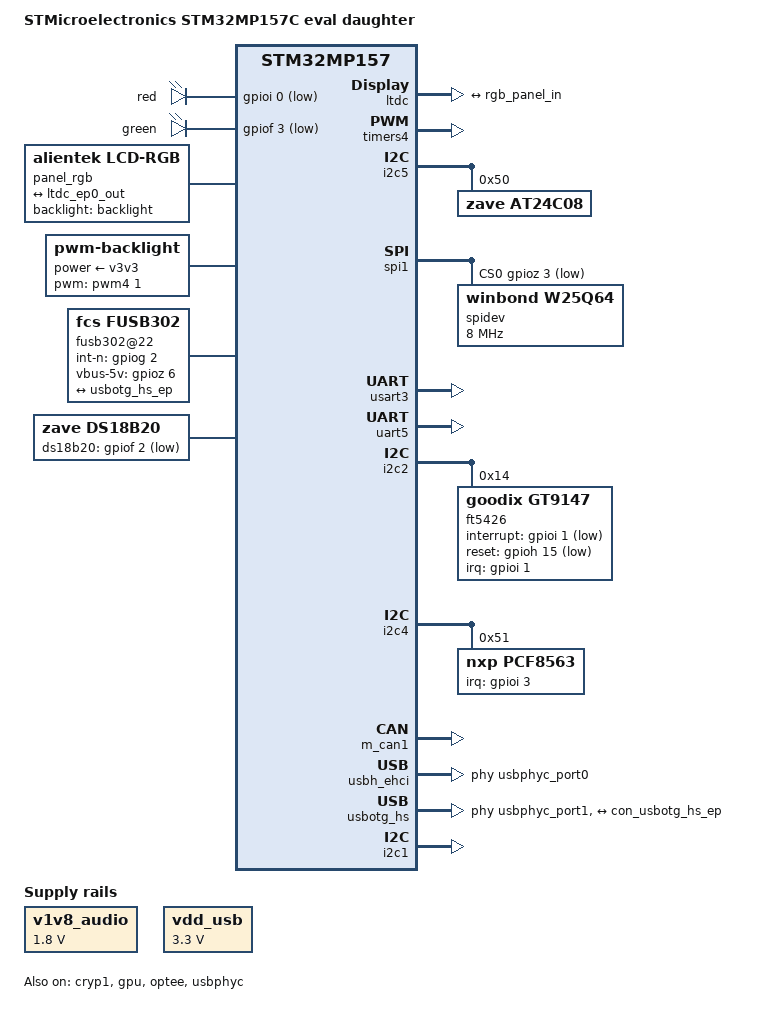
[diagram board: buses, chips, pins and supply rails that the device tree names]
// SPDX-License-Identifier: (GPL-2.0+ OR BSD-3-Clause)
/*
 * Copyright (C) STMicroelectronics 2019 - All Rights Reserved
 * Author: Alexandre Torgue <alexandre.torgue@st.com> for STMicroelectronics.
 */
/dts-v1/;

#include "stm32mp157.dtsi"
#include "stm32mp15xc.dtsi"
#include "stm32mp15-pinctrl.dtsi"
#include "stm32mp15xxaa-pinctrl.dtsi"
#include "stm32mp157-m4-srm.dtsi"
#include "stm32mp157-m4-srm-pinctrl.dtsi"
#include "stm32mp157d-atk.dtsi"
// #include dt-bindings/usb/pd.h


/ {
	model = "STMicroelectronics STM32MP157C eval daughter";
	compatible = "st,stm32mp157c-ed1", "st,stm32mp157";

	chosen {
		stdout-path = "serial0:115200n8";
	};

	aliases {
		serial0 = &uart4;
		serial1 = &uart5;
		serial2 = &usart3;
	};

	reserved-memory {
		gpu_reserved: gpu@f6000000 {
			reg = <0xf6000000 0x8000000>;
			no-map;
		};

		optee_memory: optee@fe000000 {
			reg = <0xfe000000 0x02000000>;
			no-map;
		};
	};
	leds {
		compatible = "mp157led";
		pinctrl-0 = <&led_pins_a>;
		status = "okay";
		led0 {
			label = "red";
			gpios = <&gpioi 0 GPIO_ACTIVE_LOW>;
			default-state = "on";
		};
		led1 {
			label = "green";
			gpios = <&gpiof 3 GPIO_ACTIVE_LOW>;
			default-state = "on";
		};
	};
	beep {
		compatible = "mp157d-beep";
		pinctrl-names = "default";
		label = "mp157beep";
		pinctrl-0 = <&beep_pins_a>;
		beep-gpio = <&gpioc 7 GPIO_ACTIVE_HIGH>;
		default-state = "off";
		status = "disabled";
	};
	key {
		compatible = "mp157d-key";
		pinctrl-0 = <&key_pins_a>;
		status = "okay";
		KEY0 {
			label = "key0";
			pinctrl-names = "default";
			gpios = <&gpiog 3 GPIO_ACTIVE_HIGH>;
			interrupt-parent = <&gpiog>;
			interrupts = <3 IRQ_TYPE_EDGE_BOTH>;
			default-state = "off";
		};
		KEY1 {
			label = "key1";
			pinctrl-names = "default";
			gpios = <&gpioh 7 GPIO_ACTIVE_HIGH>;
			interrupt-parent = <&gpioh>;
			interrupts = <7 IRQ_TYPE_EDGE_BOTH>;
			default-state = "off";
		};
	};
	panel_rgb: panel-rgb {
		compatible = "alientek,lcd-rgb";
		backlight = <&backlight>;
		status = "okay";
		port {
			rgb_panel_in: endpoint {
				remote-endpoint = <&ltdc_ep0_out>;
			};
		};
	};
	backlight: backlight {
		compatible = "pwm-backlight";
		pwms = <&pwm4 1 5000000>;
		brightness-levels = <0 4 8 16 32 64 128 255>;
		power-supply = <&v3v3>;
		default-brightness-level = <7>;
		status = "okay";
	};	
	v1v8_audio: regulator-v1v8-audio {
		compatible = "regulator-fixed";
		regulator-name = "v1v8_audio";
		regulator-min-microvolt = <1800000>;
		regulator-max-microvolt = <1800000>;
		regulator-always-on;
		regulator-boot-on;
	};
	// sound {
	// 	compatible = "audio-graph-card";
	// 	label = "STM32MP1-DK";
	// 	routing =
	// 		"Playback" , "MCLK",
	// 		"Capture" , "MCLK",
	// 		"MICL" , "Mic Bias";
	// 	dais = <&sai2a_port &sai2b_port>;
	// 	status = "okay";
	// };
	usb_phy_tuning: usb-phy-tuning {
		st,hs-dc-level = <2>;
		st,fs-rftime-tuning;
		st,hs-rftime-reduction;
		st,hs-current-trim = <15>;
		st,hs-impedance-trim = <1>;
		st,squelch-level = <3>;
		st,hs-rx-offset = <2>;
		st,no-lsfs-sc;
	};

	vdd_usb: regulator-vdd-usb {
		compatible = "regulator-fixed";
		regulator-name = "vdd_usb";
		regulator-min-microvolt = <3300000>;
		regulator-max-microvolt = <3300000>;
		regulator-always-on;
		regulator-boot-on;
	};
	vin: regulator-vin {
		compatible = "regulator -fixed";
		regulator-name = "vin";
		regulator-min-microvolt = <5000000>;
		regulator-max-microvolt = <5000000>;
		regulator-always-on;
		regulator-boot-on;
	};
	fusb302@22 {
		compatible = "fcs,fusb302","fairchild,fusb302";
		reg = <0x22>;
		// interrupts = <2 IRQ_TYPE_EDGE_FALLING>;
		// interrupt-parent = <&gpiog>;
		pinctrl-names = "default";
		pinctrl-0 = <&fusb302_pins_a>;
		int-n-gpios = <&gpiog 2 GPIO_ACTIVE_HIGH>;
		vbus-5v-gpios = <&gpioz 6 GPIO_ACTIVE_HIGH>;
		status="okay";
		// vdd-supply = <&vin>;

		connector {
			compatible = "usb-c-connector";
			label = "USB-C";
			power-role = "dual";
			power-opmode = "default";

			try-power-role = "sink";
			source-pdos = <PDO_FIXED(5000 , 3000 , PDO_FIXED_USB_COMM)>;
			sink-pdos = <PDO_FIXED (5000 , 3000 , PDO_FIXED_USB_COMM )
						PDO_VAR(3000, 12000, 3000)
						PDO_PPS_APDO(3000, 11000 , 3000 )>;
			port {
				con_usbotg_hs_ep: endpoint {
					remote-endpoint = <&usbotg_hs_ep>;
				};
			};
		};
	};
	ds18b20 {
		compatible = "zave,ds18b20";
		ds18b20-gpio = <&gpiof 2 GPIO_ACTIVE_LOW>;
		status = "okay";
		};
};

&cpu1{
	cpu-supply = <&vddcore>;
};

&cryp1 {
	status="okay";
};

&gpu {
	contiguous-area = <&gpu_reserved>;
	status = "okay";
};

&optee {
	status = "okay";
};

&timers1 {
	status = "disabled";
	/delete-property/dmas;
	/delete-property/dma-names;
		pwm1: pwm {
			pinctrl-0 = <&pwm3_pins_a>;
			pinctrl-1 = <&pwm3_sleep_pins_a>;
			pinctrl-names = "default", "sleep";
			#pwm-cells = <2>;
			status = "disabled";
	};
};

&ltdc {
	pinctrl-names = "default", "sleep";
	pinctrl-0 = <&ltdc_pins_b>;
	pinctrl-1 = <&ltdc_pins_sleep_b>;
	status = "okay";
	port {
		#address-cells = <1>;
		#size-cells = <0>;
		ltdc_ep0_out: endpoint@0 {
			reg = <0>;
			remote-endpoint = <&rgb_panel_in>;
		};
	};
};

&timers4 {
	status = "okay";
	/* spare dmas for other usage */
	/delete-property/dmas;
	/delete-property/dma-names;
	pwm4: pwm {
		pinctrl-0 = <&pwm4_pins_b>;
		pinctrl-1 = <&pwm4_sleep_pins_b>;
		pinctrl-names = "default", "sleep";
		#pwm-cells = <2>;
		status = "okay";
	};
};		

&i2c5 {
	pinctrl-names = "default", "sleep";
	pinctrl-0 = <&i2c5_pins_a>;
	pinctrl-1 = <&i2c5_pins_sleep_a>;
	status = "okay";

	at24c08@50 {
		compatible = "zave,at24c08";
		reg = <0x50>;
	};
};

// &spi1 {
// 	pinctrl-names = "default" , "sleep" ;
// 	pinctrl-0 = <&spi1_pins_a>;
// 	pinctrl-1 = <&spi1_sleep_pins_a>;
// 	cs-gpios = <gpioz 3 GPIO_ACTIVE_LOW>;
// 	status = "disabled";

// 	spidev: bmp180@0 {
// 		compatible = "alientek,bmp180";
// 		reg = <0>; /* CS #0 */
// 		spi-max-frequency = <8000000>;
// 	};
// };

&spi1 {
	pinctrl-names = "default" , "sleep" ;
	pinctrl-0 = <&spi1_pins_a>;
	pinctrl-1 = <&spi1_sleep_pins_a>;
	cs-gpios = <&gpioz 3 GPIO_ACTIVE_LOW>;
	status = "okay";

	spidev: w25q64@0 {
		compatible = "winbond,w25q64";
		reg = <0>; /* CS #0 */
		spi-max-frequency = <8000000>;
	};
};

&usart3 {
	pinctrl-names = "default";
	pinctrl-0 = <&usart3_pins_c>;
	status = "okay";
};

&uart5 {
	pinctrl-names = "default";
	pinctrl-0 = <&uart5_pins_a>;
	status = "okay";
};	

// 直接使用Linux内核自带驱动
&i2c2 {
	pinctrl-names = "default" , "sleep" ;
	pinctrl-0 = <&i2c2_pins_a>;
	pinctrl-1 = <&i2c2_pins_sleep_a>;
	status = "okay";
		ft5426: ft5426@38 {
			compatible = "goodix,gt9147";
			pinctrl-0 = <&ft5426int_reset_pins_a>;
			reg = <0x14>;
			interrupt-parent = <&gpioi>;
			interrupts = <1 IRQ_TYPE_EDGE_RISING>;
			interrupt-gpios = <&gpioi 1 GPIO_ACTIVE_LOW>;
			reset-gpios = <&gpioh 15 GPIO_ACTIVE_LOW>;
			status = "okay";
		};
};


&i2c4 {
	pinctrl-names = "default","sleep" ;
	pinctrl-0 = <&i2c4_pins_a>;
	pinctrl-1 = <&i2c4_pins_sleep_a>;
	status = "okay";
	
	pcf8563@51{
		compatible = "nxp,pcf8563";
		irq_gpio = <&gpioi 3 IRQ_TYPE_EDGE_FALLING>;
		reg = <0x51>;
	};
};

// &i2c4 {
// 	pinctrl-names = "default","sleep" ;
// 	pinctrl-0 = <&i2c4_pins_a>;
// 	pinctrl-1 = <&i2c4_pins_sleep_a>;
// 	status = "okay";
// 	/delete-property/dmas;
// 	/delete-property/dma-names;

// 	cs42l51: cs42l51@4a {
// 		compatible = "cirrus,cs42l51";
// 		reg = <0x4a>;
// 		#sound-dai-cells = <0>;
// 		VL-supply = <&v3v3>;
// 		VD-supply = <&v1v8_audio>;
// 		VA-supply = <&v1v8_audio>;
// 		VAHP-supply = <&v1v8_audio>;
// 		reset-gpios = <&gpioz 7 GPIO_ACTIVE_LOW>;
// 		clocks = <&sai2a>;
// 		clock-names = "MCLK";
// 		status = "okay";

// 		cs42l51_port: port {
// 			#address-cells = <1>;
// 			#size-cells = <0>;

// 			cs42l51_tx_endpoint: endpoint@0 {
// 				reg = <0>;
// 				remote-endpoint = <&sai2a_endpoint>;
// 				frame-master;
// 				bitclock-master;
// 			};

// 			cs42l51_rx_endpoint: endpoint@1 {
// 				reg = <1>;
// 				remote-endpoint = <&sai2b_endpoint>;
// 				frame-master;
// 				bitclock-master;
// 			};
// 		};
// 	};
// };

// &sai2 {
// 	clocks = <&rcc SAI2>, <&rcc PLL3_Q>, <&rcc PLL3_R>;
// 	clock-names = "pclk", "x8k", "x11k";
// 	pinctrl-names = "default", "sleep";
// 	pinctrl-0 = <&sai2a_pins_a>, <&sai2b_pins_b>;
// 	pinctrl-1 = <&sai2a_sleep_pins_a>, <&sai2b_sleep_pins_b>;
// 	status = "disable";

// 	sai2a: audio-controller@4400b004 {
// 		#clock-cells = <0>;
// 		dma-names = "tx";
// 		clocks = <&rcc SAI2_K>;
// 		clock-names = "sai_ck";
// 		status = "okay";

// 		sai2a_port: port {
// 			sai2a_endpoint: endpoint {
// 				remote-endpoint = <&cs42l51_tx_endpoint>;
// 				format = "i2s";
// 				mclk-fs = <256>;
// 				dai-tdm-slot-num = <2>;
// 				dai-tdm-slot-width = <32>;
// 			};
// 		};
// 	};

// 	sai2b: audio-controller@4400b024 {
// 		dma-names = "rx";
// 		st,sync = <&sai2a 2>;
// 		clocks = <&rcc SAI2_K>, <&sai2a>;
// 		clock-names = "sai_ck", "MCLK";
// 		status = "okay";

// 		sai2b_port: port {
// 			sai2b_endpoint: endpoint {
// 				remote-endpoint = <&cs42l51_rx_endpoint>;
// 				format = "i2s";
// 				mclk-fs = <256>;
// 				dai-tdm-slot-num = <2>;
// 				dai-tdm-slot-width = <32>;
// 			};
// 		};
// 	};
// };

&m_can1 {
	pinctrl-names = "default", "sleep";
	pinctrl-0 = <&m_can1_pins_a>;
	pinctrl-1 = <&m_can1_sleep_pins_a>;
	status = "okay";
};

&usbphyc {
	status = "okay";
};

&usbphyc_port0 {
	phy-supply = <&v3v3>;
	st,phy-tuning = <&usb_phy_tuning>;
};

&usbh_ehci {
	phys = <&usbphyc_port0>;
	status = "okay";
};

&usbphyc_port1 {
	phy-supply = <&vdd_usb>;
	st,phy-tuning = <&usb_phy_tuning>;
};

&usbotg_hs {
	phys = <&usbphyc_port1 0>;
	phy-names = "usb2-phy";
	usb-role-switch;
	status = "okay";

	port {
		usbotg_hs_ep: endpoint {
			remote-endpoint = <&con_usbotg_hs_ep>;
		};
	};
};

&i2c1 {
	pinctrl-names = "default", "sleep";
	pinctrl-0 = <&i2c1_pins_b>;
	pinctrl-1 = <&i2c1_pins_sleep_b>;
	status = "okay";
};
